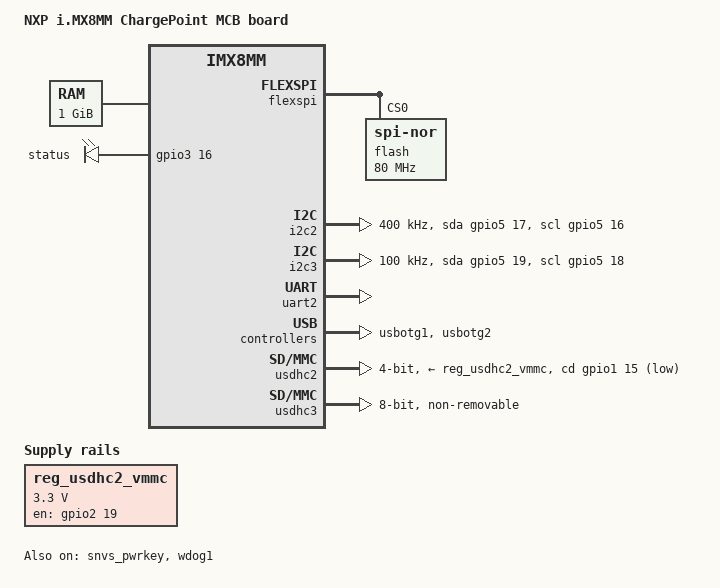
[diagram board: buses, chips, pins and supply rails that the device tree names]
// SPDX-License-Identifier: (GPL-2.0+ OR MIT)
/*
 * Copyright 2019-2020 NXP
 */

/dts-v1/;

#include <dt-bindings/usb/pd.h>
#include "imx8mm-chargepoint-mcb.dtsi"

#if !defined(CONFIG_FASTBOOT)
#include "chargepoint-pubkey.dtsi"
#include "mcb-pubkey.dtsi"
#endif

/ {
	model = "NXP i.MX8MM ChargePoint MCB board";
	compatible = "fsl,imx8mm-mcb", "fsl,imx8mm";

	memory@40000000 { /* 1GB RAM */
		device_type = "memory";
		reg = <0x0 0x40000000 0 0x40000000>;
	};

	chosen {
		bootargs = "console=ttymxc1,115200 earlycon=ec_imx6q,0x30890000,115200";
		stdout-path = &uart2;
	};

	leds {
		compatible = "gpio-leds";
		pinctrl-names = "default";
		pinctrl-0 = <&pinctrl_gpio_led>;

		status {
			label = "status";
			gpios = <&gpio3 16 GPIO_ACTIVE_HIGH>;
			default-state = "on";
		};
	};

	reg_usdhc2_vmmc: regulator-usdhc2 {
		compatible = "regulator-fixed";
		pinctrl-names = "default";
		pinctrl-0 = <&pinctrl_reg_usdhc2_vmmc>;
		regulator-name = "VSD_3V3";
		regulator-min-microvolt = <3300000>;
		regulator-max-microvolt = <3300000>;
		gpio = <&gpio2 19 GPIO_ACTIVE_HIGH>;
		off-on-delay-us = <20000>;
		enable-active-high;
	};

	aliases {
		spi0 = &flexspi;
	};
};

&flexspi {
	pinctrl-names = "default";
	pinctrl-0 = <&pinctrl_flexspi>;
	status = "okay";

	flash@0 {
		reg = <0>;
		#address-cells = <1>;
		#size-cells = <1>;
		compatible = "jedec,spi-nor";
		spi-max-frequency = <80000000>;
		spi-tx-bus-width = <1>;
		spi-rx-bus-width = <4>;
	};
};

&A53_0 {
	cpu-supply = <&buck2_reg>;
};

&i2c2 {
	clock-frequency = <400000>;
	pinctrl-names = "default", "gpio";
	pinctrl-0 = <&pinctrl_i2c2>;
	pinctrl-1 = <&pinctrl_i2c2_gpio>;
	scl-gpios = <&gpio5 16 GPIO_ACTIVE_HIGH>;
	sda-gpios = <&gpio5 17 GPIO_ACTIVE_HIGH>;
	status = "okay";
};

&i2c3 {
	clock-frequency = <100000>;
	pinctrl-names = "default", "gpio";
	pinctrl-0 = <&pinctrl_i2c3>;
	pinctrl-1 = <&pinctrl_i2c3_gpio>;
	scl-gpios = <&gpio5 18 GPIO_ACTIVE_HIGH>;
	sda-gpios = <&gpio5 19 GPIO_ACTIVE_HIGH>;
	status = "okay";
};

&snvs_pwrkey {
	status = "okay";
};

&uart2 { /* console */
	pinctrl-names = "default";
	pinctrl-0 = <&pinctrl_uart2>;
	status = "okay";
};

&usbotg1 {
	status = "okay";
};

&usbotg2 {
	status = "okay";
};

&usdhc2 {
	pinctrl-names = "default", "state_100mhz", "state_200mhz";
	pinctrl-0 = <&pinctrl_usdhc2>, <&pinctrl_usdhc2_gpio>;
	pinctrl-1 = <&pinctrl_usdhc2_100mhz>, <&pinctrl_usdhc2_gpio>;
	pinctrl-2 = <&pinctrl_usdhc2_200mhz>, <&pinctrl_usdhc2_gpio>;
	cd-gpios = <&gpio1 15 GPIO_ACTIVE_LOW>;
	bus-width = <4>;
	vmmc-supply = <&reg_usdhc2_vmmc>;
	status = "okay";
};

&usdhc3 {
	assigned-clocks = <&clk IMX8MM_CLK_USDHC3_ROOT>;
	assigned-clock-rates = <400000000>;
	pinctrl-names = "default", "state_100mhz", "state_200mhz";
	pinctrl-0 = <&pinctrl_usdhc3>;
	pinctrl-1 = <&pinctrl_usdhc3_100mhz>;
	pinctrl-2 = <&pinctrl_usdhc3_200mhz>;
	bus-width = <8>;
	non-removable;
	status = "okay";
};

&wdog1 {
	pinctrl-names = "default";
	pinctrl-0 = <&pinctrl_wdog>;
	fsl,ext-reset-output;
	status = "okay";
};

&iomuxc {
	pinctrl-names = "default";

	pinctrl_gpio_led: gpioledgrp {
		fsl,pins = <
			MX8MM_IOMUXC_NAND_READY_B_GPIO3_IO16	0x19
		>;
	};

	pinctrl_i2c1: i2c1grp {
		fsl,pins = <
			MX8MM_IOMUXC_I2C1_SCL_I2C1_SCL			0x400001c3
			MX8MM_IOMUXC_I2C1_SDA_I2C1_SDA			0x400001c3
		>;
	};

	pinctrl_i2c2: i2c2grp {
		fsl,pins = <
			MX8MM_IOMUXC_I2C2_SCL_I2C2_SCL			0x400001c3
			MX8MM_IOMUXC_I2C2_SDA_I2C2_SDA			0x400001c3
		>;
	};

	pinctrl_i2c3: i2c3grp {
		fsl,pins = <
			MX8MM_IOMUXC_I2C3_SCL_I2C3_SCL			0x400001c3
			MX8MM_IOMUXC_I2C3_SDA_I2C3_SDA			0x400001c3
		>;
	};

	pinctrl_typec1: typec1grp {
		fsl,pins = <
			MX8MM_IOMUXC_SD1_STROBE_GPIO2_IO11	0x159
		>;
	};

	pinctrl_uart2: uart2grp {
		fsl,pins = <
			MX8MM_IOMUXC_UART2_RXD_UART2_DCE_RX	0x140
			MX8MM_IOMUXC_UART2_TXD_UART2_DCE_TX	0x140
		>;
	};

	pinctrl_usdhc2: usdhc2grp {
		fsl,pins = <
			MX8MM_IOMUXC_SD2_CLK_USDHC2_CLK		0x190
			MX8MM_IOMUXC_SD2_CMD_USDHC2_CMD		0x1d0
			MX8MM_IOMUXC_SD2_DATA0_USDHC2_DATA0	0x1d0
			MX8MM_IOMUXC_SD2_DATA1_USDHC2_DATA1	0x1d0
			MX8MM_IOMUXC_SD2_DATA2_USDHC2_DATA2	0x1d0
			MX8MM_IOMUXC_SD2_DATA3_USDHC2_DATA3	0x1d0
			MX8MM_IOMUXC_GPIO1_IO04_USDHC2_VSELECT	0x1d0
		>;
	};


	pinctrl_flexspi: flexspigrp {
		fsl,pins = <
			MX8MM_IOMUXC_NAND_ALE_QSPI_A_SCLK               0x1c2
			MX8MM_IOMUXC_NAND_CE0_B_QSPI_A_SS0_B            0x82
			MX8MM_IOMUXC_NAND_DATA00_QSPI_A_DATA0           0x82
			MX8MM_IOMUXC_NAND_DATA01_QSPI_A_DATA1           0x82
			MX8MM_IOMUXC_NAND_DATA02_QSPI_A_DATA2           0x82
			MX8MM_IOMUXC_NAND_DATA03_QSPI_A_DATA3           0x82
		>;
	};

	pinctrl_usdhc3: usdhc3grp {
		fsl,pins = <
			MX8MM_IOMUXC_NAND_WE_B_USDHC3_CLK               0x190
			MX8MM_IOMUXC_NAND_WP_B_USDHC3_CMD               0x1d0
			MX8MM_IOMUXC_NAND_DATA04_USDHC3_DATA0           0x1d0
			MX8MM_IOMUXC_NAND_DATA05_USDHC3_DATA1           0x1d0
			MX8MM_IOMUXC_NAND_DATA06_USDHC3_DATA2           0x1d0
			MX8MM_IOMUXC_NAND_DATA06_USDHC3_DATA2           0x1d0
			MX8MM_IOMUXC_NAND_DATA07_USDHC3_DATA3           0x1d0
			MX8MM_IOMUXC_NAND_RE_B_USDHC3_DATA4             0x1d0
			MX8MM_IOMUXC_NAND_CE2_B_USDHC3_DATA5            0x1d0
			MX8MM_IOMUXC_NAND_CE3_B_USDHC3_DATA6            0x1d0
			MX8MM_IOMUXC_NAND_CLE_USDHC3_DATA7              0x1d0
			MX8MM_IOMUXC_NAND_CE1_B_USDHC3_STROBE           0x190
		>;
	};

	pinctrl_usdhc3_100mhz: usdhc3-100mhzgrp {
		fsl,pins = <
			MX8MM_IOMUXC_NAND_WE_B_USDHC3_CLK               0x194
			MX8MM_IOMUXC_NAND_WP_B_USDHC3_CMD               0x1d4
			MX8MM_IOMUXC_NAND_DATA04_USDHC3_DATA0           0x1d4
			MX8MM_IOMUXC_NAND_DATA05_USDHC3_DATA1           0x1d4
			MX8MM_IOMUXC_NAND_DATA06_USDHC3_DATA2           0x1d4
			MX8MM_IOMUXC_NAND_DATA07_USDHC3_DATA3           0x1d4
			MX8MM_IOMUXC_NAND_RE_B_USDHC3_DATA4             0x1d4
			MX8MM_IOMUXC_NAND_CE2_B_USDHC3_DATA5            0x1d4
			MX8MM_IOMUXC_NAND_CE3_B_USDHC3_DATA6            0x1d4
			MX8MM_IOMUXC_NAND_CLE_USDHC3_DATA7              0x1d4
			MX8MM_IOMUXC_NAND_CE1_B_USDHC3_STROBE           0x194
		>;
	};

	pinctrl_usdhc3_200mhz: usdhc3-200mhzgrp {
		fsl,pins = <
			MX8MM_IOMUXC_NAND_WE_B_USDHC3_CLK               0x196
			MX8MM_IOMUXC_NAND_WP_B_USDHC3_CMD               0x1d6
			MX8MM_IOMUXC_NAND_DATA04_USDHC3_DATA0           0x1d6
			MX8MM_IOMUXC_NAND_DATA05_USDHC3_DATA1           0x1d6
			MX8MM_IOMUXC_NAND_DATA06_USDHC3_DATA2           0x1d6
			MX8MM_IOMUXC_NAND_DATA07_USDHC3_DATA3           0x1d6
			MX8MM_IOMUXC_NAND_RE_B_USDHC3_DATA4             0x1d6
			MX8MM_IOMUXC_NAND_CE2_B_USDHC3_DATA5            0x1d6
			MX8MM_IOMUXC_NAND_CE3_B_USDHC3_DATA6            0x1d6
			MX8MM_IOMUXC_NAND_CLE_USDHC3_DATA7              0x1d6
			MX8MM_IOMUXC_NAND_CE1_B_USDHC3_STROBE           0x196
		>;
	};

	pinctrl_wdog: wdoggrp {
		fsl,pins = <
			MX8MM_IOMUXC_GPIO1_IO02_WDOG1_WDOG_B	0xc6
		>;
	};
};
